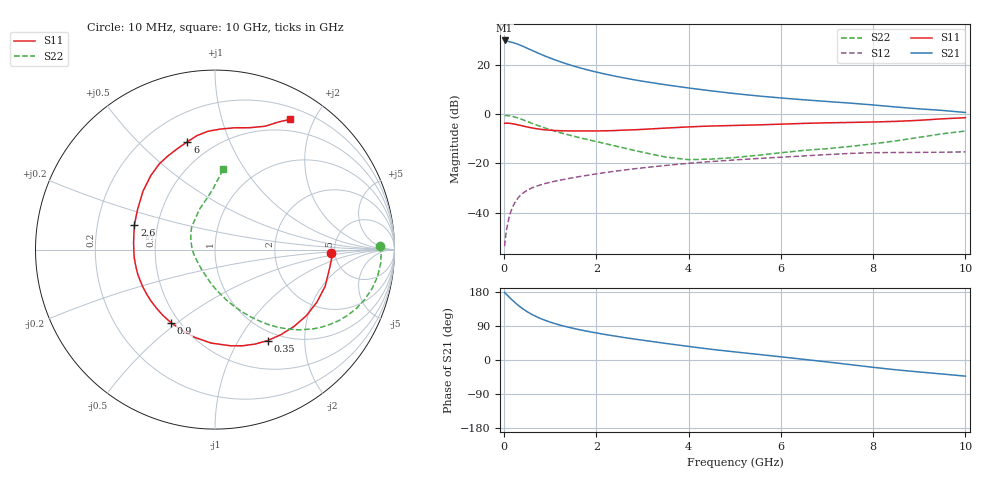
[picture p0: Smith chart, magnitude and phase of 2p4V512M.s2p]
! (c) 2009  Infineon Technologies AG, Munich
! Infineon Technologies  Discrete & RF Semiconductors
! BFP420
! VCE =  4.5 V,  IC =  12 mA
! Common Emitter S-Parameters:  Nov 2009
# GHz  S  MA  R  50
!  f  S11  S21  S12  S22
! GHz  MAG  ANG  MAG  ANG  MAG  ANG  MAG  ANG
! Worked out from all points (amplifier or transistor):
!   46 points, 10 MHz to 10 GHz, reference 50 ohm
!   highest |S21| = 29.7 dB at 10 MHz (marker M1)
!   |S21| within 3 dB of that: start of sweep to 482.9 MHz
!   unconditionally stable (mu >= 1): start of sweep to 22.56 MHz; 2.222 GHz to end of sweep
!   at 300 MHz: K = 0.32, MSG = 31.1 dB, |S12| = -34.1 dB
!   at 1.7 GHz: K = 0.87, MSG = 21.8 dB, |S12| = -25.2 dB
!   at 10 GHz: K = 1.08, MAG = 6.2 dB, |S12| = -15.4 dB
!   lowest NFmin = 0.95 dB at 900 MHz
!   S11 on the Smith chart (normalised r, x): 10 MHz: 4.64, -0.29; 350 MHz: 0.87, -1.34; 900 MHz: 0.45, -0.48; 2.6 GHz: 0.37, +0.13; 6 GHz: 0.36, +0.71; 10 GHz: 0.34, +1.68
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0.01  0.6468 -1.6  30.68 178.6  0.0021 18.2  0.9175 1.2
0.02  0.6534 -3.2  29.75 176.8  0.0027 33.7  0.9257 -1.6
0.1  0.6469 -18.4  29.14 167.1  0.0076 63.3  0.9181 -9.4
0.2  0.6281 -35.9  27.65 155.5  0.0141 65.5  0.8794 -18.4
0.3  0.5994 -52.3  25.67 144.8  0.0198 62.1  0.8248 -26.4
0.35  0.5854 -60.0  24.6 140.1  0.0223 60.3  0.7945 -29.9
0.45  0.5574 -74.0  22.43 131.4  0.0266 56.9  0.7335 -36.1
0.6  0.5212 -92.4  19.4 120.3  0.0317 52.8  0.6477 -43.7
0.7  0.5019 -103.0  17.62 114.3  0.0345 50.9  0.5974 -47.7
0.9  0.4755 -120.9  14.67 104.2  0.0392 48.3  0.5144 -54.4
1.2  0.4572 -141.7  11.51 92.5  0.0453 46.3  0.4212 -62.3
1.4  0.4527 -152.8  9.983 86.3  0.0493 45.5  0.3749 -66.8
1.7  0.4509 -166.5  8.283 78.3  0.0551 44.5  0.3192 -73.0
2.2  0.4552 175.2  6.374 67.1  0.0651 42.5  0.2491 -83.1
2.6  0.4694 162.9  5.35 59.3  0.0729 40.3  0.2038 -92.9
3.5  0.5163 141.0  3.885 43.8  0.0904 34.7  0.1337 -123.7
4.5  0.5693 123.1  2.919 28.1  0.1088 27.1  0.1218 -170.1
5.5  0.5996 110.6  2.312 14.9  0.1249 19.5  0.1454 157.8
6  0.6199 104.4  2.102 8.4  0.1328 15.8  0.1638 145.2
7  0.6601 93.5  1.784 -5.1  0.1501 7.3  0.1977 125.3
8.5  0.7061 74.1  1.379 -25.9  0.1654 -8.7  0.2847 99.7
10  0.8378 60.0  1.068 -42.6  0.1703 -19.4  0.4496 84.1
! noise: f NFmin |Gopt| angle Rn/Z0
0.9  0.95  0.03  -151  0.13
1.8  1.27  0.13  -152  0.12
2.4  1.38  0.13  -160  0.14
3  1.43  0.22  -145  0.13
4  1.58  0.35  -123  0.17
5  2.03  0.43  -103  0.28
6  2.4  0.47  -91  0.43
